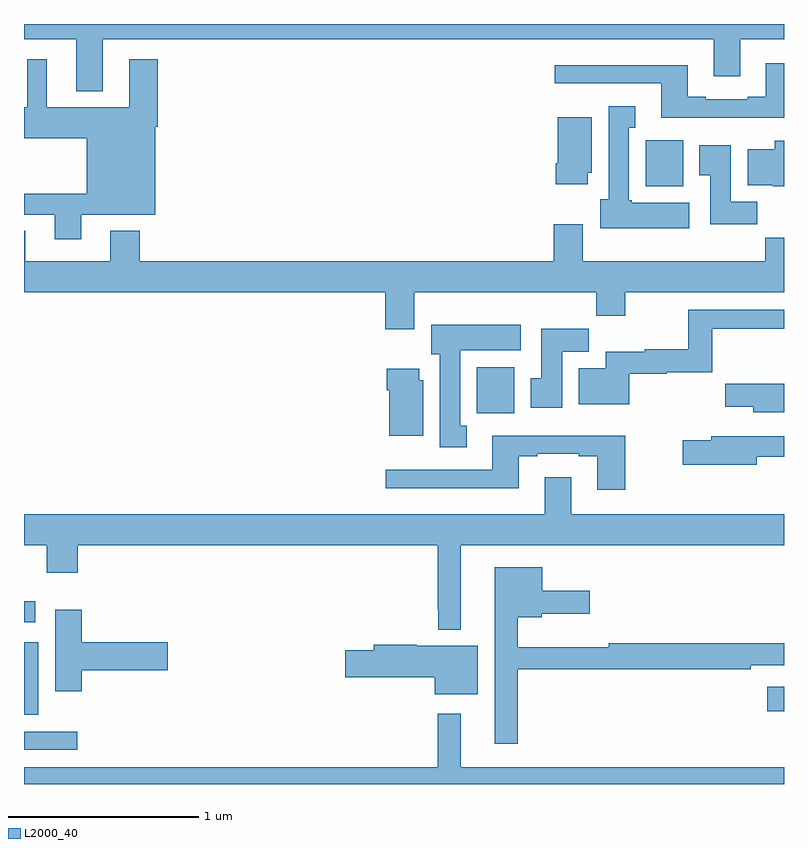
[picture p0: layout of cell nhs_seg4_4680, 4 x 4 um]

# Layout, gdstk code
import gdstk
lib = gdstk.Library(unit=1e-6, precision=1e-09)
def R(c, l, rs):  # rectangles x0, y0, x1, y1
    for r in rs: c.add(gdstk.rectangle(r[:2], r[2:], *l))
def P(c, l, *ps):  # polygons
    for p in ps: c.add(gdstk.Polygon(p, *l))
L2000_40 = (2000, 40)

nhs_seg4_4680 = lib.new_cell('nhs_seg4_4680')
R(nhs_seg4_4680, L2000_40, [(363,793.08,363.28,793.176), (363,793.265,363.076,793.645), (366.912,793.282,367,793.411), (363,793.752,363.058,793.861), (365.384,794.852,365.581,795.094), (366.272,796.046,366.469,796.288)])
P(nhs_seg4_4680, L2000_40, [(363.415,796.82),(366.629,796.82),(366.629,796.626),(366.769,796.626),(366.769,796.82),(367,796.82),(367,796.9),(363,796.9),(363,796.82),(363.275,796.82),(363.275,796.547),(363.415,796.547)],
  [(363.301,795.896),(363.691,795.896),(363.691,796.358),(363.704,796.358),(363.704,796.714),(363.554,796.714),(363.554,796.462),(363.121,796.462),(363.121,796.714),(363.017,796.714),(363.017,796.462),(363,796.462),(363,796.298),(363.329,796.298),(363.329,796.006),(363,796.006),(363,795.897),(363.161,795.897),(363.161,795.768),(363.301,795.768)],
  [(367,796.693),(366.905,796.693),(366.905,796.516),(366.809,796.516),(366.809,796.503),(366.589,796.503),(366.589,796.516),(366.493,796.516),(366.493,796.684),(365.793,796.684),(365.793,796.587),(366.353,796.587),(366.353,796.406),(367,796.406)],
  [(366.502,795.958),(366.198,795.958),(366.198,795.972),(366.184,795.972),(366.184,796.355),(366.217,796.355),(366.217,796.468),(366.077,796.468),(366.077,795.978),(366.032,795.978),(366.032,795.824),(366.502,795.824)],
  [(365.968,796.116),(365.989,796.116),(365.989,796.408),(365.81,796.408),(365.81,796.168),(365.798,796.168),(365.798,796.056),(365.968,796.056)],
  [(367,796.285),(366.95,796.285),(366.95,796.24),(366.809,796.24),(366.809,796.052),(366.942,796.052),(366.942,796.046),(367,796.046)],
  [(366.86,795.964),(366.721,795.964),(366.721,796.261),(366.554,796.261),(366.554,796.105),(366.611,796.105),(366.611,795.846),(366.86,795.846)],
  [(365.053,795.488),(366.013,795.488),(366.013,795.364),(366.165,795.364),(366.165,795.488),(367,795.488),(367,795.776),(366.901,795.776),(366.901,795.652),(365.941,795.652),(365.941,795.847),(365.789,795.847),(365.789,795.652),(363.608,795.652),(363.608,795.811),(363.455,795.811),(363.455,795.652),(363.007,795.652),(363.007,795.812),(363,795.812),(363,795.488),(364.901,795.488),(364.901,795.294),(365.053,795.294)],
  [(366.185,795.058),(366.384,795.058),(366.384,795.066),(366.623,795.066),(366.623,795.295),(367,795.295),(367,795.396),(366.495,795.396),(366.495,795.187),(366.268,795.187),(366.268,795.176),(366.062,795.176),(366.062,795.088),(365.921,795.088),(365.921,794.9),(366.185,794.9)],
  [(365.329,794.786),(365.296,794.786),(365.296,795.182),(365.614,795.182),(365.614,795.316),(365.144,795.316),(365.144,795.162),(365.189,795.162),(365.189,794.673),(365.329,794.673)],
  [(365.833,795.176),(365.972,795.176),(365.972,795.295),(365.723,795.295),(365.723,795.036),(365.666,795.036),(365.666,794.88),(365.833,794.88)],
  [(365.101,795.024),(365.08,795.024),(365.08,795.085),(364.91,795.085),(364.91,794.972),(364.922,794.972),(364.922,794.732),(365.101,794.732)],
  [(367,795.007),(366.69,795.007),(366.69,794.885),(366.839,794.885),(366.839,794.856),(367,794.856)],
  [(366.165,794.734),(365.465,794.734),(365.465,794.553),(364.905,794.553),(364.905,794.456),(365.605,794.456),(365.605,794.625),(365.701,794.625),(365.701,794.637),(365.921,794.637),(365.921,794.625),(366.017,794.625),(366.017,794.448),(366.165,794.448)],
  [(366.856,794.622),(367,794.622),(367,794.73),(366.617,794.73),(366.617,794.709),(366.468,794.709),(366.468,794.579),(366.856,794.579)],
  [(365.299,794.156),(367,794.156),(367,794.32),(365.881,794.32),(365.881,794.515),(365.741,794.515),(365.741,794.32),(363,794.32),(363,794.156),(363.119,794.156),(363.119,794.013),(363.283,794.013),(363.283,794.156),(365.178,794.156),(365.178,793.819),(365.179,793.819),(365.179,793.712),(365.299,793.712)],
  [(365.599,793.504),(366.824,793.504),(366.824,793.524),(367,793.524),(367,793.64),(366.077,793.64),(366.077,793.621),(365.599,793.621),(365.599,793.778),(365.724,793.778),(365.724,793.796),(365.977,793.796),(365.977,793.918),(365.728,793.918),(365.728,794.041),(365.477,794.041),(365.477,793.113),(365.599,793.113)],
  [(363.305,793.499),(363.757,793.499),(363.757,793.646),(363.305,793.646),(363.305,793.816),(363.164,793.816),(363.164,793.389),(363.305,793.389)],
  [(365.389,793.627),(365.066,793.627),(365.066,793.634),(364.841,793.634),(364.841,793.604),(364.692,793.604),(364.692,793.462),(365.162,793.462),(365.162,793.373),(365.389,793.373)],
  [(367,792.988),(365.299,792.988),(365.299,793.27),(365.178,793.27),(365.178,792.988),(363,792.988),(363,792.9),(367,792.9)])

lib.write_gds('nhs_seg4_4680.gds')
